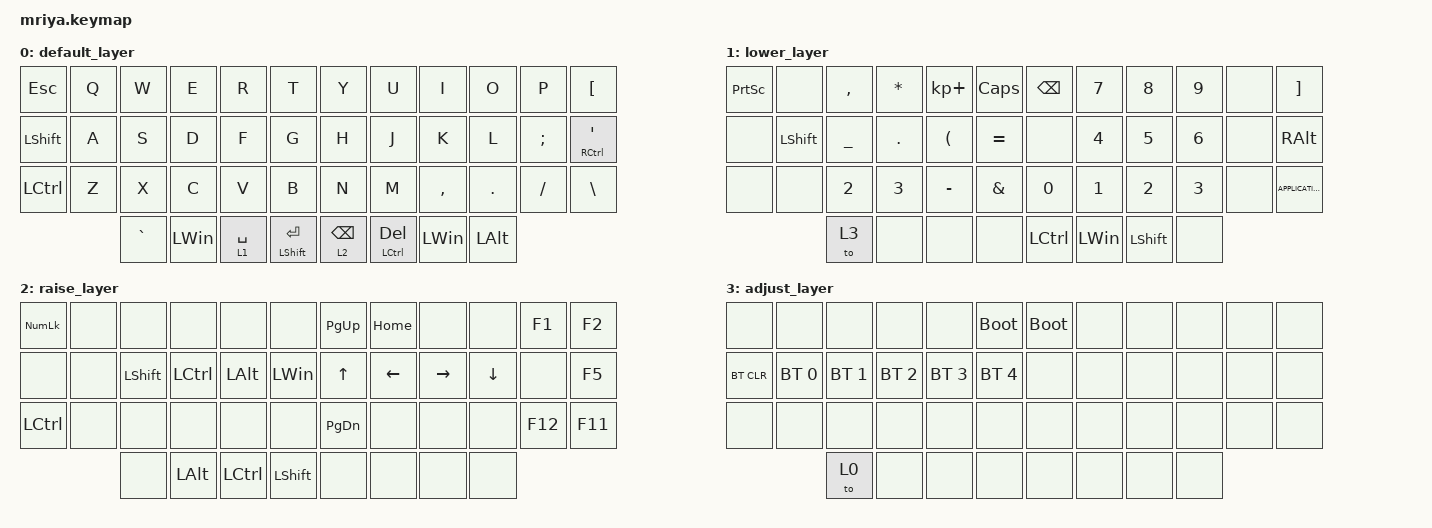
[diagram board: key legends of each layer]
/*
 * Copyright (c) 2023 Andrei Gaevskii
 *
 * SPDX-License-Identifier: MIT
 */

#include <behaviors.dtsi>
#include <dt-bindings/zmk/bt.h>
#include <dt-bindings/zmk/keys.h>

#define DEF 0
#define LWR 1
#define RSE 2
#define ADJ 3

&lt { quick_tap_ms = <200>; };

&mt { quick_tap_ms = <200>; };

/ {
    combos {
        compatible = "zmk,combos";

        home {
            bindings = <&kp HOME>;
            key-positions = <14 15 16>;
        };

        end {
            bindings = <&kp END>;
            key-positions = <19 20 21>;
        };

        tab_r {
            bindings = <&kp TAB>;
            key-positions = <41 19 20>;
        };

        tab_l {
            bindings = <&kp TAB>;
            key-positions = <16 15 38>;
        };

        volume_up {
            bindings = <&kp K_VOLUME_UP>;
            key-positions = <11 10>;
        };

        volume_down {
            bindings = <&kp K_VOLUME_DOWN>;
            key-positions = <34 35>;
        };
    };

    keymap {
        compatible = "zmk,keymap";

        default_layer {
            bindings = <
  &kp ESCAPE        &kp Q  &kp W      &kp E         &kp R        &kp T                    &kp Y            &kp U                    &kp I         &kp O         &kp P     &kp LBKT
  &kp LEFT_SHIFT    &kp A  &kp S      &kp D         &kp F        &kp G                    &kp H            &kp J                    &kp K         &kp L         &kp SEMI  &mt RCTRL SQT
  &kp LEFT_CONTROL  &kp Z  &kp X      &kp C         &kp V        &kp B                    &kp N            &kp M                    &kp COMMA     &kp DOT       &kp FSLH  &kp BACKSLASH
                           &kp GRAVE  &kp LEFT_WIN  &lt 1 SPACE  &mt LEFT_SHIFT RETURN    &lt 2 BACKSPACE  &mt LEFT_CONTROL DELETE  &kp LEFT_WIN  &kp LEFT_ALT
            >;
        };

        lower_layer {
            bindings = <
  &kp PRINTSCREEN  &none           &kp COMMA       &kp ASTERISK  &kp KP_PLUS           &kp CAPSLOCK     &kp BACKSPACE  &kp NUMBER_7  &kp NUMBER_8    &kp NUMBER_9  &none  &kp RIGHT_BRACKET
  &none            &kp LEFT_SHIFT  &kp UNDERSCORE  &kp PERIOD    &kp LEFT_PARENTHESIS  &kp EQUAL        &none          &kp NUMBER_4  &kp NUMBER_5    &kp NUMBER_6  &none  &kp RIGHT_ALT
  &none            &none           &kp N2          &kp N3        &kp MINUS             &kp AMPERSAND    &kp NUMBER_0   &kp NUMBER_1  &kp NUMBER_2    &kp NUMBER_3  &none  &kp K_APPLICATION
                                   &to 3           &none         &none                 &none            &kp LCTRL      &kp LWIN      &kp LEFT_SHIFT  &none
            >;
        };

        raise_layer {
            bindings = <
  &kp KP_NUM        &none  &none           &none             &none             &none             &kp PG_UP      &kp HOME  &none      &none     &kp F1   &kp F2
  &none             &none  &kp LEFT_SHIFT  &kp LEFT_CONTROL  &kp LEFT_ALT      &kp LEFT_WIN      &kp UP_ARROW   &kp LEFT  &kp RIGHT  &kp DOWN  &none    &kp F5
  &kp LEFT_CONTROL  &none  &none           &none             &none             &none             &kp PAGE_DOWN  &none     &none      &none     &kp F12  &kp F11
                           &none           &kp LEFT_ALT      &kp LEFT_CONTROL  &kp LEFT_SHIFT    &none          &none     &none      &none
            >;
        };

        adjust_layer {
            bindings = <
  &none       &none         &none         &none         &none         &bootloader     &bootloader  &none  &none  &none  &none  &none
  &bt BT_CLR  &bt BT_SEL 0  &bt BT_SEL 1  &bt BT_SEL 2  &bt BT_SEL 3  &bt BT_SEL 4    &none        &none  &none  &none  &none  &none
  &none       &none         &none         &none         &none         &none           &none        &none  &none  &none  &none  &none
                            &to 0         &none         &none         &none           &none        &none  &none  &none
            >;
        };
    };
};
